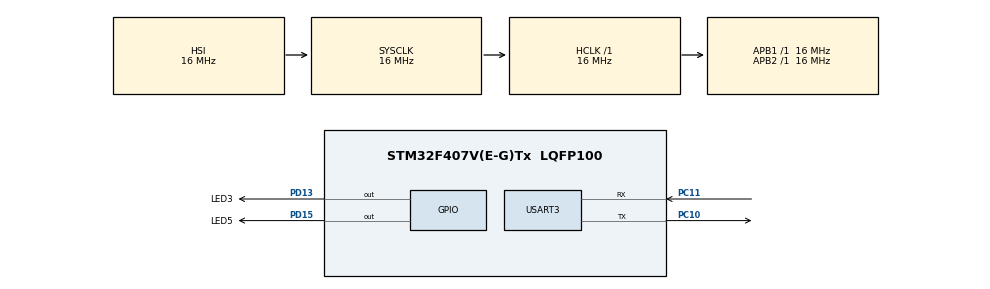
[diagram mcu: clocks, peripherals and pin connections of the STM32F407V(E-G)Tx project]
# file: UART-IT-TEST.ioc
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Mcu.Family=STM32F4
NVIC.USART3_IRQn=true\:0\:0\:false\:false\:true\:true\:true
RCC.CortexFreq_Value=16000000
PD15.GPIO_Label=LED5
PC10.GPIO_PuPd=GPIO_PULLUP
PC10.Signal=USART3_TX
PC11.Signal=USART3_RX
PC10.Mode=Asynchronous
ProjectManager.StackSize=0x400
PD13.Signal=GPIO_Output
PC11.GPIO_PuPd=GPIO_PULLUP
ProjectManager.TargetToolchain=STM32CubeIDE
RCC.LSE_VALUE=32768
RCC.AHBFreq_Value=16000000
RCC.HSE_VALUE=25000000
board=custom
RCC.VCOOutputFreq_Value=192000000
RCC.APB2Freq_Value=16000000
PD13.GPIO_PuPd=GPIO_PULLUP
Mcu.Name=STM32F407V(E-G)Tx
RCC.SYSCLKFreq_VALUE=16000000
PD13.GPIO_Label=LED3
Mcu.Package=LQFP100
USART3.VirtualMode=VM_ASYNC
ProjectManager.HeapSize=0x200
PC11.Mode=Asynchronous
RCC.HSI_VALUE=16000000
NVIC.PriorityGroup=NVIC_PRIORITYGROUP_4
RCC.APB1Freq_Value=16000000
PD15.Signal=GPIO_Output

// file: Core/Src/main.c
/* USER CODE BEGIN Header */
/**
  ******************************************************************************
  * @file           : main.c
  * @brief          : Main program body
  ******************************************************************************
  * @attention
  *
  * <h2><center>&copy; Copyright (c) 2021 STMicroelectronics.
  * All rights reserved.</center></h2>
  *
  * This software component is licensed by ST under BSD 3-Clause license,
  * the "License"; You may not use this file except in compliance with the
  * License. You may obtain a copy of the License at:
  *                        opensource.org/licenses/BSD-3-Clause
  *
  ******************************************************************************
  */
/* USER CODE END Header */
#include "main.h"
#include "usart.h"
#include "gpio.h"

/* USER CODE BEGIN Includes */
#include <stdio.h>
#include <string.h>
/* USER CODE END Includes */

/* USER CODE BEGIN PV */
uint8_t aTxStartMessage[] = "****UART-Hyperterminal communication based on IT ****\r\n Enter 10 characters using keyboard : \r\n";
uint8_t aTxEndMessage[] = "\r\nExample Finished \r\n";

uint8_t aRxBuffer[20];
/* USER CODE END PV */

void SystemClock_Config(void);

int main(void)
{

  /* MCU Configuration--------------------------------------------------------*/

  /* Reset of all peripherals, Initializes the Flash interface and the Systick. */
  HAL_Init();

  /* Configure the system clock */
  SystemClock_Config();

  /* Initialize all configured peripherals */
  MX_GPIO_Init();
  MX_USART3_UART_Init();

  /* USER CODE BEGIN 2 */
  /*##-1- Start the transmission process #####################################*/
/*
  if (HAL_UART_Transmit_IT(&huart3, (uint8_t*) aTxStartMessage, sizeof(aTxStartMessage)) == HAL_OK)
  {
	  printf("number of 1 \r\n");
  }
  else
  {
	  while(1)
	  {

	  }
  }
*/

  /*##-2- Put UART peripheral in reception process ###########################*/
  if (HAL_UART_Receive_IT(&huart3, (uint8_t *) aRxBuffer, 20) == HAL_OK )
  {
	  printf("number of 2 \r\n");
  }
  else
  {
	  while(1)
	  {
		  printf("test input \n\r");
	  }
  }

  /*##-3- Wait for the end of the transfer ###################################*/

  /*
  while (HAL_UART_GetState(&huart3) != HAL_UART_STATE_READY)
  {

  }
  */

  /*##-4- Send the received Buffer ###########################################*/
/*
  if (HAL_UART_Transmit_IT(&huart3, (uint8_t*) aRxBuffer, 10) == HAL_OK )
  {
	  printf("number of 4 \r\n");
  }
  else
  {
	   Turn LED3 on: Transfer error in transmission process
	  while(1)
	  {

	  }
  }
*/

  /*##-5- Wait for the end of the transfer ###################################*/
/*
  while(HAL_UART_GetState(&huart3) != HAL_UART_STATE_READY)
  {
	  printf("It is busy number 5 ! \n\r");
  }

  HAL_Delay(100);
*/

  /*##-6- Send the End Message ###############################################*/
/*
  if (HAL_UART_Transmit_IT(&huart3, (uint8_t*)aTxEndMessage , sizeof(aTxEndMessage)) != HAL_OK)
  {
	   Turn LED3 on: Transfer error in transmission process
	  while(1)
	  {
		  if (HAL_GPIO_ReadPin(LED3_GPIO_Port, LED3_Pin) == GPIO_PIN_RESET)
		  {
			  HAL_GPIO_WritePin(LED3_GPIO_Port, LED3_Pin, GPIO_PIN_SET);
		  } else {
			  HAL_GPIO_WritePin(LED3_GPIO_Port, LED3_Pin, GPIO_PIN_RESET);
		  }

	  }
  }
*/

  /*##-7- Wait for the end of the transfer ###################################*/
/*
  while(HAL_UART_GetState(&huart3) != HAL_UART_STATE_READY)
  {
	  printf("It is busy number 7 ! \n\r");
  }
*/

  /* USER CODE END 2 */

  /* Infinite loop */
  while (1)
  {

    /* USER CODE BEGIN 3 */

//	  if (HAL_GPIO_ReadPin(LED3_GPIO_Port, LED3_Pin) == GPIO_PIN_RESET) {
//		  HAL_GPIO_WritePin(LED3_GPIO_Port, LED3_Pin, GPIO_PIN_SET);
//	  } else {
//		  HAL_GPIO_WritePin(LED3_GPIO_Port, LED3_Pin, GPIO_PIN_RESET);
//	  }

	  if (HAL_GPIO_ReadPin(LED5_GPIO_Port, LED5_Pin) == GPIO_PIN_RESET) {
		  HAL_GPIO_WritePin(LED5_GPIO_Port, LED5_Pin, GPIO_PIN_SET);
	  } else {
		  HAL_GPIO_WritePin(LED5_GPIO_Port, LED5_Pin, GPIO_PIN_RESET);
	  }

	  HAL_Delay(500);

  }
  /* USER CODE END 3 */
}

void SystemClock_Config(void)
{
  RCC_OscInitTypeDef RCC_OscInitStruct = {0};
  RCC_ClkInitTypeDef RCC_ClkInitStruct = {0};

  /** Configure the main internal regulator output voltage
  */
  __HAL_RCC_PWR_CLK_ENABLE();
  __HAL_PWR_VOLTAGESCALING_CONFIG(PWR_REGULATOR_VOLTAGE_SCALE1);
  /** Initializes the RCC Oscillators according to the specified parameters
  * in the RCC_OscInitTypeDef structure.
  */
  RCC_OscInitStruct.OscillatorType = RCC_OSCILLATORTYPE_HSI;
  RCC_OscInitStruct.HSIState = RCC_HSI_ON;
  RCC_OscInitStruct.HSICalibrationValue = RCC_HSICALIBRATION_DEFAULT;
  RCC_OscInitStruct.PLL.PLLState = RCC_PLL_NONE;
  if (HAL_RCC_OscConfig(&RCC_OscInitStruct) != HAL_OK)
  {
    Error_Handler();
  }
  /** Initializes the CPU, AHB and APB buses clocks
  */
  RCC_ClkInitStruct.ClockType = RCC_CLOCKTYPE_HCLK|RCC_CLOCKTYPE_SYSCLK
                              |RCC_CLOCKTYPE_PCLK1|RCC_CLOCKTYPE_PCLK2;
  RCC_ClkInitStruct.SYSCLKSource = RCC_SYSCLKSOURCE_HSI;
  RCC_ClkInitStruct.AHBCLKDivider = RCC_SYSCLK_DIV1;
  RCC_ClkInitStruct.APB1CLKDivider = RCC_HCLK_DIV1;
  RCC_ClkInitStruct.APB2CLKDivider = RCC_HCLK_DIV1;

  if (HAL_RCC_ClockConfig(&RCC_ClkInitStruct, FLASH_LATENCY_0) != HAL_OK)
  {
    Error_Handler();
  }
}

/* USER CODE BEGIN 4 */

void HAL_UART_RxCpltCallback(UART_HandleTypeDef *huart)
{
	if (huart->Instance == USART3)
	{
		uint8_t aTempBuffer[22];
		uint8_t aCarrge[] = "\r\n";
		HAL_UART_Receive_IT(&huart3, (uint8_t *) aRxBuffer, 20);

		memset(aTempBuffer, 0, sizeof(aTempBuffer));
		//sprintf(aTempBuffer, "%d\r\n", aRxBuffer);
		strcat(aTempBuffer, aRxBuffer);
		strcat(aTempBuffer, aCarrge);
		HAL_UART_Transmit_IT(&huart3, (uint8_t *) aTempBuffer, sizeof(aTempBuffer));
	}
}

/* USER CODE END 4 */

void Error_Handler(void)
{
  __disable_irq();
  while (1)
  {
  }
}

/************************ (C) COPYRIGHT STMicroelectronics *****END OF FILE****/
